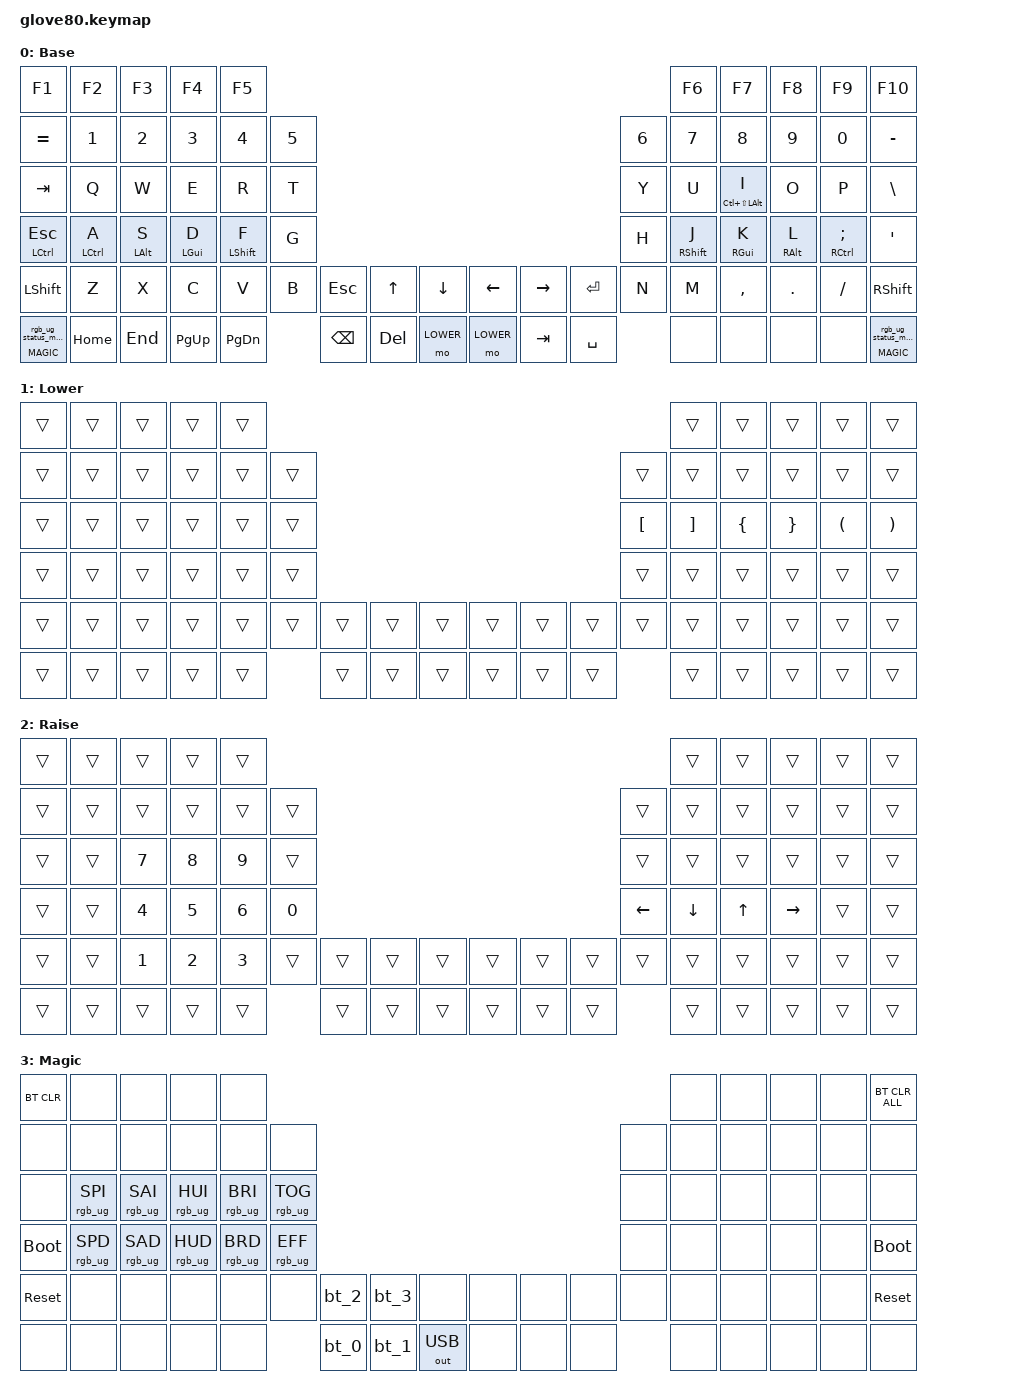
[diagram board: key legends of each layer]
/*
 * Copyright (c) 2020 The ZMK Contributors
 *
 * SPDX-License-Identifier: MIT
 */

#include <behaviors.dtsi>
#include <dt-bindings/zmk/keys.h>
#include <dt-bindings/zmk/bt.h>
#include <dt-bindings/zmk/ext_power.h>
#include <dt-bindings/zmk/outputs.h>
#include <dt-bindings/zmk/rgb.h>

#define HYPER LC(LS(LG(LALT)))
#define MEH LC(LS(LALT))

// layers
#define BASE 0
#define LOWER 1
#define RAISE 2
#define MAGIC 3

#define POS_LH_T1 52
#define POS_LH_T2 53
#define POS_LH_T3 54
#define POS_LH_T4 69
#define POS_LH_T5 70
#define POS_LH_T6 71
#define POS_LH_C1R2 15
#define POS_LH_C1R3 27
#define POS_LH_C1R4 39
#define POS_LH_C1R5 51
#define POS_LH_C2R1 4
#define POS_LH_C2R2 14
#define POS_LH_C2R3 26
#define POS_LH_C2R4 38
#define POS_LH_C2R5 50
#define POS_LH_C2R6 68
#define POS_LH_C3R1 3
#define POS_LH_C3R2 13
#define POS_LH_C3R3 25
#define POS_LH_C3R4 37
#define POS_LH_C3R5 49
#define POS_LH_C3R6 67
#define POS_LH_C4R1 2
#define POS_LH_C4R2 12
#define POS_LH_C4R3 24
#define POS_LH_C4R4 36
#define POS_LH_C4R5 48
#define POS_LH_C4R6 66
#define POS_LH_C5R1 1
#define POS_LH_C5R2 11
#define POS_LH_C5R3 23
#define POS_LH_C5R4 35
#define POS_LH_C5R5 47
#define POS_LH_C5R6 65
#define POS_LH_C6R1 0
#define POS_LH_C6R2 10
#define POS_LH_C6R3 22
#define POS_LH_C6R4 34
#define POS_LH_C6R5 46
#define POS_LH_C6R6 64
#define POS_RH_T1 57
#define POS_RH_T2 56
#define POS_RH_T3 55
#define POS_RH_T4 74
#define POS_RH_T5 73
#define POS_RH_T6 72
#define POS_RH_C1R2 16
#define POS_RH_C1R3 28
#define POS_RH_C1R4 40
#define POS_RH_C1R5 58
#define POS_RH_C2R1 5
#define POS_RH_C2R2 17
#define POS_RH_C2R3 29
#define POS_RH_C2R4 41
#define POS_RH_C2R5 59
#define POS_RH_C2R6 75
#define POS_RH_C3R1 6
#define POS_RH_C3R2 18
#define POS_RH_C3R3 30
#define POS_RH_C3R4 42
#define POS_RH_C3R5 60
#define POS_RH_C3R6 76
#define POS_RH_C4R1 7
#define POS_RH_C4R2 19
#define POS_RH_C4R3 31
#define POS_RH_C4R4 43
#define POS_RH_C4R5 61
#define POS_RH_C4R6 77
#define POS_RH_C5R1 8
#define POS_RH_C5R2 20
#define POS_RH_C5R3 32
#define POS_RH_C5R4 44
#define POS_RH_C5R5 62
#define POS_RH_C5R6 78
#define POS_RH_C6R1 9
#define POS_RH_C6R2 21
#define POS_RH_C6R3 33
#define POS_RH_C6R4 45
#define POS_RH_C6R5 63
#define POS_RH_C6R6 79


/ {
    behaviors {
        // For the "layer" key, it'd nice to be able to use it as either a shift or a toggle.
        // Configure it as a tap dance, so the first tap (or hold) is a &mo and the second tap is a &to
        layer_td: tap_dance_0 {
            compatible = "zmk,behavior-tap-dance";
            label = "LAYER_TAP_DANCE";
            #binding-cells = <0>;
            tapping-term-ms = <200>;
            bindings = <&mo LOWER>, <&to LOWER>;
        };

        magic: magic_hold_tap {
            compatible = "zmk,behavior-hold-tap";
            label = "MAGIC_HOLD_TAP";
            #binding-cells = <2>;
            flavor = "tap-preferred";
            tapping-term-ms = <200>;
            bindings = <&mo>, <&rgb_ug_status_macro>;
        };

        #define TYPING_STREAK_TERM 160
        #define KEY_REPEATING_TERM 300
        #define HOMEY_TAPPING_TERM 280
        #define INDEX_TAPPING_TERM 180
        #define LEFT_HAND_KEYS      \
              0  1  2  3  4         \
             10 11 12 13 14 15      \
             22 23 24 25 26 27      \
             34 35 36 37 38 39      \
             46 47 48 49 50 51      \
             64 65 66 67 68
        #define RIGHT_HAND_KEYS     \
                                               5  6  7  8  9 \
                                           16 17 18 19 20 21 \
                                           28 29 30 31 32 33 \
                                           40 41 42 43 44 45 \
                                           58 59 60 61 62 63 \
                                              75 76 77 78 79
        #define THUMB_KEYS          \
                            69 52       57 74                \
                             70 53     56 73                 \
                              71 54   55 72
        hml: homerow_mods_left {
            compatible = "zmk,behavior-hold-tap";
            label = "HOME_ROW_MODS_LEFT_HAND";
            flavor = "balanced";
            hold-trigger-key-positions = <RIGHT_HAND_KEYS THUMB_KEYS>;
            hold-trigger-on-release; // wait for other home row mods
            tapping-term-ms = <HOMEY_TAPPING_TERM>;
            quick-tap-ms = <TYPING_STREAK_TERM>;
            global-quick-tap; // with typing streak
            #binding-cells = <2>;
            bindings = <&kp>, <&kp>;
        };
        hmr: homerow_mods_right {
            compatible = "zmk,behavior-hold-tap";
            label = "HOME_ROW_MODS_RIGHT_HAND";
            flavor = "balanced";
            hold-trigger-key-positions = <LEFT_HAND_KEYS THUMB_KEYS>;
            hold-trigger-on-release; // wait for other home row mods
            tapping-term-ms = <HOMEY_TAPPING_TERM>;
            quick-tap-ms = <TYPING_STREAK_TERM>;
            global-quick-tap; // with typing streak
            #binding-cells = <2>;
            bindings = <&kp>, <&kp>;
        };
        hmli: homerow_mods_left_index {
            compatible = "zmk,behavior-hold-tap";
            label = "HOME_ROW_MODS_LEFT_INDEX_SHIFT";
            flavor = "tap-preferred";
            hold-trigger-key-positions = <RIGHT_HAND_KEYS THUMB_KEYS>;
            //hold-trigger-on-release; // don't wait for other mods
            tapping-term-ms = <INDEX_TAPPING_TERM>;
            quick-tap-ms = <KEY_REPEATING_TERM>; // enable repeat
            //global-quick-tap; // no typing streak
            #binding-cells = <2>;
            bindings = <&kp>, <&kp>;
        };
        hmri: homerow_mods_right_index {
            compatible = "zmk,behavior-hold-tap";
            label = "HOME_ROW_MODS_RIGHT_INDEX_SHIFT";
            flavor = "tap-preferred";
            hold-trigger-key-positions = <LEFT_HAND_KEYS THUMB_KEYS>;
            //hold-trigger-on-release; // don't wait for other mods
            tapping-term-ms = <INDEX_TAPPING_TERM>;
            quick-tap-ms = <KEY_REPEATING_TERM>; // enable repeat
            //global-quick-tap; // no typing streak
            #binding-cells = <2>;
            bindings = <&kp>, <&kp>;
        };
    };

    macros {
        rgb_ug_status_macro: rgb_ug_status_macro_0 {
            label = "RGB_UG_STATUS";
            compatible = "zmk,behavior-macro";
            #binding-cells = <0>;
            bindings
                = <&rgb_ug RGB_STATUS>;
        };

        bt_0: bt_profile_macro_0 {
            label = "BT_0";
            compatible = "zmk,behavior-macro";
            #binding-cells = <0>;
            bindings
                = <&out OUT_BLE>,
                  <&bt BT_SEL 0>;
        };

        bt_1: bt_profile_macro_1 {
            label = "BT_1";
            compatible = "zmk,behavior-macro";
            #binding-cells = <0>;
            bindings
                = <&out OUT_BLE>,
                  <&bt BT_SEL 1>;
        };

        bt_2: bt_profile_macro_2 {
            label = "BT_2";
            compatible = "zmk,behavior-macro";
            #binding-cells = <0>;
            bindings
                = <&out OUT_BLE>,
                  <&bt BT_SEL 2>;
        };

        bt_3: bt_profile_macro_3 {
            label = "BT_3";
            compatible = "zmk,behavior-macro";
            #binding-cells = <0>;
            bindings
                = <&out OUT_BLE>,
                  <&bt BT_SEL 3>;
        };

        ZMK_MACRO(dot_spc,
            wait-ms = <0>;
            tap-ms = <5>;
            bindings = <&kp DOT &kp SPACE &sk LSHFT>;
        )
    };

    combos {
        compatible = "zmk,combos";

        combo_caps_word {
          timeout-ms = <50>;
          key-positions = <POS_LH_C2R4 POS_RH_C2R4>;
          bindings = <&caps_word>;
          layers = <BASE>;
        };

        combo_dot_spc {
          timeout-ms = <50>;
          key-positions = <POS_LH_T4 POS_RH_T4>;
          bindings = <&dot_spc>;
          layers = <BASE>;
        };

        combo_equal {
          timeout-ms = <50>;
          key-positions = <POS_RH_C1R4 POS_RH_C2R4>;
          bindings = <&kp EQUAL>;
          layers = <BASE>;
        };

        // [
        combo_lbkt {
          timeout-ms = <50>;
          key-positions = <POS_RH_C2R3 POS_RH_C2R4>;
          bindings = <&kp LBKT>;
          layers = <BASE>;
        };

        // ]
        combo_rbkt {
          timeout-ms = <50>;
          key-positions = <POS_RH_C4R3 POS_RH_C4R4>;
          bindings = <&kp RBKT>;
          layers = <BASE>;
        };

        // {
        combo_lbrc {
          timeout-ms = <50>;
          key-positions = <POS_RH_C2R3 POS_RH_C3R3>;
          bindings = <&kp LBRC>;
          layers = <BASE>;
        };

        // }
        combo_rbrc {
          timeout-ms = <50>;
          key-positions = <POS_RH_C3R3 POS_RH_C4R3>;
          bindings = <&kp RBRC>;
          layers = <BASE>;
        };

        // (
        combo_lpar {
          timeout-ms = <50>;
          key-positions = <POS_RH_C2R4 POS_RH_C3R4>;
          bindings = <&kp LPAR>;
          layers = <BASE>;
        };

        // )
        combo_rpar {
          timeout-ms = <50>;
          key-positions = <POS_RH_C4R4 POS_RH_C3R4>;
          bindings = <&kp RPAR>;
          layers = <BASE>;
        };

        // <
        combo_lt {
          timeout-ms = <50>;
          key-positions = <POS_RH_C2R5 POS_RH_C3R5>;
          bindings = <&kp LT>;
          layers = <BASE>;
        };

        // >
        combo_gt {
          timeout-ms = <50>;
          key-positions = <POS_RH_C3R5 POS_RH_C4R5>;
          bindings = <&kp GT>;
          layers = <BASE>;
        };
    };


    keymap {
        compatible = "zmk,keymap";

        base_layer {
            label = "Base";
            bindings = <
              &kp F1               &kp F2       &kp F3       &kp F4         &kp F5                                                                                                 &kp F6       &kp F7       &kp F8           &kp F9         &kp F10
              &kp EQUAL            &kp N1       &kp N2       &kp N3         &kp N4  &kp N5                                                                    &kp N6         &kp N7       &kp N8       &kp N9           &kp N0       &kp MINUS
              &kp TAB               &kp Q        &kp W        &kp E          &kp R   &kp T                                                                    &kp Y          &kp U   &hmr MEH I        &kp O            &kp P        &kp BSLH
              &mt LCTRL ESC  &hml LCTRL A  &hml LALT S  &hml LGUI D  &hmli LSHFT F   &kp G                                                                    &kp H  &hmri RSHFT J  &hmr RGUI K  &hmr RALT L  &hmr RCTRL SEMI         &kp SQT
              &kp LSHFT             &kp Z        &kp X        &kp C          &kp V   &kp B  &kp ESC   &kp UP   &kp DOWN      &kp LEFT  &kp RIGHT &kp RET      &kp N      &kp M    &kp COMMA      &kp DOT         &kp FSLH       &kp RSHFT
              &magic MAGIC 0     &kp HOME      &kp END    &kp PG_UP      &kp PG_DN          &kp BSPC  &kp DEL  &mo LOWER     &mo LOWER &kp TAB   &kp SPACE                  &none        &none        &none            &none  &magic MAGIC 0
            >;
    };

        lower_layer {
            label = "Lower";
            bindings = <
               &trans  &trans  &trans  &trans  &trans                                                                      &trans    &trans    &trans    &trans    &trans
               &trans  &trans  &trans  &trans  &trans  &trans                                                    &trans    &trans    &trans    &trans    &trans    &trans
               &trans  &trans  &trans  &trans  &trans  &trans                                                  &kp LBKT  &kp RBKT  &kp LBRC  &kp RBRC  &kp LPAR  &kp RPAR
               &trans  &trans  &trans  &trans  &trans  &trans                                                    &trans    &trans    &trans    &trans    &trans    &trans
               &trans  &trans  &trans  &trans  &trans  &trans  &trans  &trans  &trans  &trans  &trans  &trans    &trans    &trans    &trans    &trans    &trans    &trans
               &trans  &trans  &trans  &trans  &trans          &trans  &trans  &trans  &trans  &trans  &trans              &trans    &trans    &trans    &trans    &trans
            >;
        };

        raise_layer {
            label = "Raise";
            bindings = <
              &trans   &trans   &trans   &trans   &trans                                                                      &trans  &trans     &trans  &trans  &trans
              &trans   &trans   &trans   &trans   &trans   &trans                                                   &trans    &trans  &trans     &trans  &trans  &trans
              &trans   &trans   &kp N7   &kp N8   &kp N9   &trans                                                   &trans    &trans  &trans     &trans  &trans  &trans
              &trans   &trans   &kp N4   &kp N5   &kp N6   &kp N0                                                 &kp LEFT  &kp DOWN  &kp UP  &kp RIGHT  &trans  &trans
              &trans   &trans   &kp N1   &kp N2   &kp N3   &trans  &trans  &trans  &trans  &trans  &trans  &trans   &trans    &trans  &trans     &trans  &trans  &trans
              &trans   &trans   &trans   &trans   &trans           &trans  &trans  &trans  &trans  &trans  &trans             &trans  &trans     &trans  &trans  &trans
            >;
        };

        magic_layer {
            label = "Magic";
            bindings = <
              &bt BT_CLR            &none            &none            &none            &none                                                                                  &none   &none   &none   &none  &bt BT_CLR_ALL
                   &none            &none            &none            &none            &none            &none                                                         &none   &none   &none   &none   &none           &none
                   &none  &rgb_ug RGB_SPI  &rgb_ug RGB_SAI  &rgb_ug RGB_HUI  &rgb_ug RGB_BRI  &rgb_ug RGB_TOG                                                         &none   &none   &none   &none   &none           &none
             &bootloader  &rgb_ug RGB_SPD  &rgb_ug RGB_SAD  &rgb_ug RGB_HUD  &rgb_ug RGB_BRD  &rgb_ug RGB_EFF                                                         &none   &none   &none   &none   &none     &bootloader
              &sys_reset            &none            &none            &none            &none            &none   &bt_2   &bt_3         &none   &none   &none   &none   &none   &none   &none   &none   &none      &sys_reset
                   &none            &none            &none            &none            &none                    &bt_0   &bt_1  &out OUT_USB   &none   &none   &none           &none   &none   &none   &none           &none
            >;
        };
    };
};
